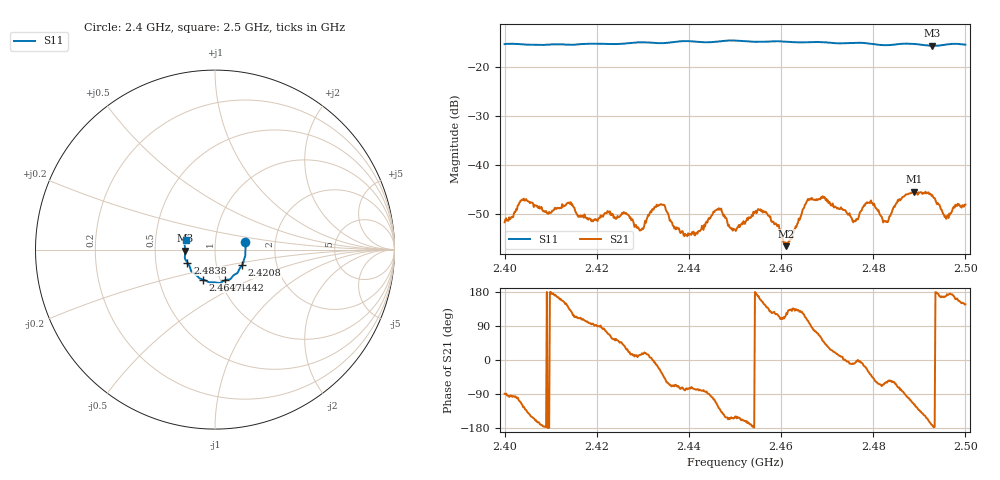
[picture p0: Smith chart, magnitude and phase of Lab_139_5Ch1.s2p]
# Hz S RI R 50
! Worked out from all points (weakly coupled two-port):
!   601 points, 2.4 GHz to 2.5 GHz, reference 50 ohm
!   highest |S21| = -45.47 dB at 2.4888 GHz (marker M1); lowest = -56.7 dB at 2.4612 GHz (marker M2)
!   lowest |S11| = -15.6 dB at 2.4928 GHz (marker M3), VSWR 1.40, Z = 35.8 - j0.372 ohm
!   |S11| at or under -10 dB: start of sweep to end of sweep
!   S12 and S22 are empty: the file has one direction only
!   S11 on the Smith chart (normalised r, x): 2.4 GHz: 1.40, +0.12; 2.4208 GHz: 1.33, -0.24; 2.4442 GHz: 1.05, -0.37; 2.4647 GHz: 0.83, -0.29; 2.4838 GHz: 0.73, -0.11; 2.5 GHz: 0.72, +0.08
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2.4e9  0.1679 0.0409  3.5e-05 -0.00258  0 0  0 0
2.404167e9  0.1706 0.0162  -0.00248 -0.00376  0 0  0 0
2.416667e9  0.1589 -0.0681  -0.000857 0.00281  0 0  0 0
2.420833e9  0.1509 -0.0872  -4.81e-05 0.00303  0 0  0 0
2.429667e9  0.1255 -0.1294  0.00209 0.000536  0 0  0 0
2.433333e9  0.1077 -0.1402  0.00357 -0.00129  0 0  0 0
2.439333e9  0.0841 -0.1653  0.000466 -0.00184  0 0  0 0
2.444167e9  0.0567 -0.1712  4.4e-05 -0.00275  0 0  0 0
2.4465e9  0.0401 -0.1795  -0.00216 -0.00287  0 0  0 0
2.45e9  0.0245 -0.1864  -0.00187 -0.00109  0 0  0 0
2.455333e9  -0.00951 -0.1819  -0.00326 0.00112  0 0  0 0
2.461167e9  -0.0414 -0.1778  -0.000815 0.00122  0 0  0 0
2.464667e9  -0.0673 -0.1669  -0.00189 0.00288  0 0  0 0
2.466667e9  -0.0801 -0.1627  0.000349 0.00457  0 0  0 0
2.476e9  -0.1275 -0.1238  0.00265 -0.000383  0 0  0 0
2.479333e9  -0.1366 -0.108  0.00321 -0.0025  0 0  0 0
2.483333e9  -0.1505 -0.0762  0.00154 -0.00226  0 0  0 0
2.483833e9  -0.1533 -0.0721  0.00181 -0.00255  0 0  0 0
2.488833e9  -0.1679 -0.044  -0.00243 -0.00474  0 0  0 0
2.492833e9  -0.1658 -0.00505  -0.00484 -0.000692  0 0  0 0
2.495833e9  -0.1693 0.0243  -0.00275 0.000526  0 0  0 0
2.5e9  -0.1624 0.0528  -0.00327 0.00215  0 0  0 0
